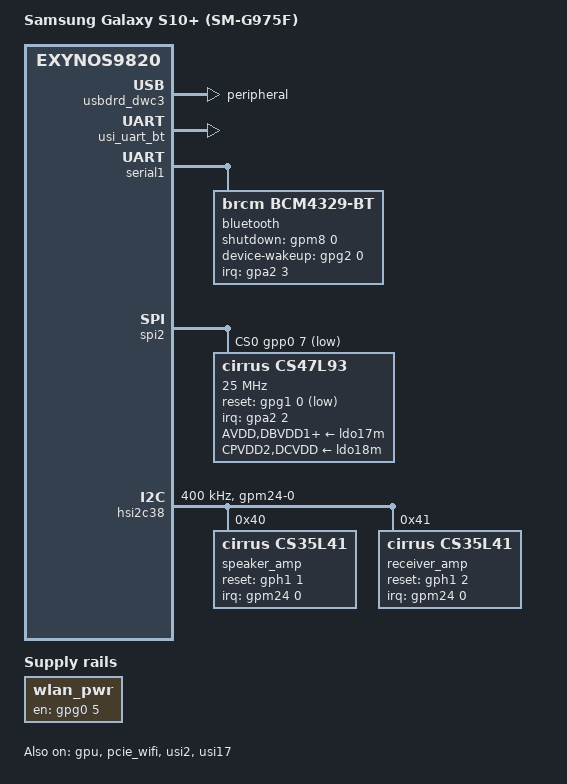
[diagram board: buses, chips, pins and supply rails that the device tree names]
// SPDX-License-Identifier: GPL-2.0 OR BSD-3-Clause
/*
 * Samsung Galaxy S10+ (beyond2lte/SM-G975F) device tree source
 *
 * Copyright (c) 2026 chiffathefox <chiffathefoxx@gmail.com>
 */

/dts-v1/;
#include "exynos9820-common.dtsi"
#include <dt-bindings/interrupt-controller/irq.h>

/ {
	model = "Samsung Galaxy S10+ (SM-G975F)";
	compatible = "samsung,beyond2lte", "samsung,exynos9820";
	chassis-type = "handset";

	aliases {
		i2c0 = &hsi2c10;
		i2c1 = &hsi2c45;
		i2c2 = &hsi2c38;
	};

	chosen {
		framebuffer0: framebuffer@ca000000 {
			compatible = "simple-framebuffer";
			reg = <0x0 0xca000000 (1440 * 3040 * 4)>;
			width = <1440>;
			height = <3040>;
			stride = <(1440 * 4)>;
			format = "a8r8g8b8";
			panel = <&panel>;

			/* Dummy panel for simple-framebuffer dimension info */
			panel: dummy-panel {
				width-mm = <70>;
				height-mm = <147>;
			};
		};
	};

	reserved-memory {
		/*
		 * Persistent crash log. 0xfd910000 is the stock log_kernel region
		 * (debug_snapshot); it does not overlap modem_if or cp_ram_logging
		 * (end 0xfd8fffff). Read after a crash from /sys/fs/pstore.
		 */
		ramoops@fd910000 {
			compatible = "ramoops";
			reg = <0x0 0xfd910000 0x200000>;
			record-size = <0x40000>;
			console-size = <0x40000>;
			pmsg-size = <0x40000>;
		};
	};

	wlan_pwr: regulator-wlan {
		compatible = "regulator-fixed";
		regulator-name = "wlan_reg_on";
		gpio = <&gpg0 5 GPIO_ACTIVE_HIGH>;
		enable-active-high;
		startup-delay-us = <200000>;
		pinctrl-names = "default";
		pinctrl-0 = <&wlan_en>;
	};
};

&battery {
	compatible = "simple-battery";
	constant-charge-current-max-microamp = <2850000>;
	charge-full-design-microamp-hours = <4000000>;
};

&gpu {
	status = "okay";
};

&usbdrd_dwc3 {
	dr_mode = "peripheral";
	maximum-speed = "high-speed";
};

&pcie_wifi {
	pinctrl-names = "default";
	pinctrl-0 = <&pcie0_clkreq &pcie0_perst>;
	reset-gpios = <&gpf2 2 GPIO_ACTIVE_LOW>;
	vpcie-supply = <&wlan_pwr>;
	status = "okay";
};

&pinctrl_fsys1 {
	pcie0_clkreq: pcie0-clkreq-pins {
		samsung,pins = "gpf2-0";
		samsung,pin-function = <EXYNOS_PIN_FUNC_2>;
		samsung,pin-pud = <EXYNOS_PIN_PULL_UP>;
		samsung,pin-drv = <3>;
	};

	pcie0_perst: pcie0-perst-pins {
		samsung,pins = "gpf2-2";
		samsung,pin-function = <EXYNOS_PIN_FUNC_OUTPUT>;
		samsung,pin-pud = <EXYNOS_PIN_PULL_NONE>;
		samsung,pin-drv = <3>;
	};
};

&usi_uart_bt {
	status = "okay";
};

&serial1 {
	pinctrl-names = "default";
	pinctrl-0 = <&uart1_bus>;
	uart-has-rtscts;
	status = "okay";

	bluetooth {
		compatible = "brcm,bcm4329-bt";
		pinctrl-names = "default";
		pinctrl-0 = <&bt_en &bt_wake &bt_hostwake>;
		shutdown-gpios = <&gpm8 0 GPIO_ACTIVE_HIGH>;
		device-wakeup-gpios = <&gpg2 0 GPIO_ACTIVE_HIGH>;
		interrupt-parent = <&gpa2>;
		interrupts = <3 IRQ_TYPE_EDGE_RISING>;
		interrupt-names = "host-wakeup";
	};
};

&pinctrl_alive {
	bt_hostwake: bt-hostwake-pins {
		samsung,pins = "gpa2-3";
		samsung,pin-function = <EXYNOS_PIN_FUNC_EINT>;
		samsung,pin-pud = <EXYNOS_PIN_PULL_DOWN>;
	};
};

&pinctrl_cmgp {
	bt_en: bt-en-pins {
		samsung,pins = "gpm8-0";
		samsung,pin-function = <EXYNOS_PIN_FUNC_OUTPUT>;
		samsung,pin-pud = <EXYNOS_PIN_PULL_NONE>;
	};
};

&pinctrl_peric0 {
	bt_wake: bt-wake-pins {
		samsung,pins = "gpg2-0";
		samsung,pin-function = <EXYNOS_PIN_FUNC_OUTPUT>;
		samsung,pin-pud = <EXYNOS_PIN_PULL_NONE>;
		samsung,pin-con-pdn = <EXYNOS_PIN_PDN_PREV>;
		samsung,pin-pud-pdn = <EXYNOS_PIN_PULL_NONE>;
	};

	wlan_en: wlan-en-pins {
		samsung,pins = "gpg0-5";
		samsung,pin-function = <EXYNOS_PIN_FUNC_OUTPUT>;
		samsung,pin-pud = <EXYNOS_PIN_PULL_NONE>;
		samsung,pin-drv = <3>;
	};
};

&pinctrl_cmgp {
	amp_int: amp-int-pins {
		samsung,pins = "gpm24-0";
		samsung,pin-function = <EXYNOS_PIN_FUNC_EINT>;
		samsung,pin-pud = <EXYNOS_PIN_PULL_NONE>;
		samsung,pin-con-pdn = <EXYNOS_PIN_PDN_PREV>;
		samsung,pin-pud-pdn = <EXYNOS_PIN_PULL_NONE>;
	};
};

&usi2 {
	status = "okay";
	samsung,mode = <USI_MODE_SPI>;
};

&spi2 {
	cs-gpios = <&gpp0 7 GPIO_ACTIVE_LOW>;
	pinctrl-0 = <&spi2_bus &spi2_cs>;
	status = "okay";

	cs47l93: codec@0 {
		compatible = "cirrus,cs47l93";
		reg = <0>;
		spi-max-frequency = <25000000>;
		interrupts-extended = <&gpa2 2 IRQ_TYPE_LEVEL_LOW>;
		interrupt-controller;
		#interrupt-cells = <2>;
		gpio-controller;
		#gpio-cells = <2>;
		#sound-dai-cells = <1>;
		AVDD-supply = <&ldo17m>;
		DBVDD1-supply = <&ldo17m>;
		CPVDD1-supply = <&ldo17m>;
		CPVDD2-supply = <&ldo18m>;
		DCVDD-supply = <&ldo18m>;
		reset-gpios = <&gpg1 0 GPIO_ACTIVE_LOW>;
		cirrus,dmic-ref = <0 0 1 1 0 0>;
		cirrus,inmode = <0 0 0 0 0 0 1 1 0 0 0 0 0 0 0 0 0 0 0 0 0 0 0 0>;
		cirrus,out-mono = <0 0 0 1 0 0>;
		pinctrl-names = "default";
		pinctrl-0 = <&codec_reset &codec_irq>;

		controller-data {
			samsung,spi-feedback-delay = <1>;
		};
	};
};

&usi17 {
	status = "okay";
	samsung,mode = <USI_MODE_I2C>;
};

&hsi2c38 {
	clock-frequency = <400000>;
	pinctrl-0 = <&hsi2c38_bus &spk_amp_reset &rcv_amp_reset &amp_int>;
	status = "okay";

	speaker_amp: amplifier@40 {
		compatible = "cirrus,cs35l41";
		reg = <0x40>;
		#sound-dai-cells = <1>;
		sound-name-prefix = "Bottom";
		interrupts-extended = <&gpm24 0 IRQ_TYPE_LEVEL_LOW>;
		reset-gpios = <&gph1 1 GPIO_ACTIVE_HIGH>;
		cirrus,boost-type = <0>;
		cirrus,boost-peak-milliamp = <4100>;
		cirrus,boost-ind-nanohenry = <1000>;
		cirrus,boost-cap-microfarad = <10>;
		cirrus,asp-sdout-hiz = <3>;
		cirrus,gpio2-src-select = <2>;
		cirrus,gpio2-output-enable;
	};

	receiver_amp: amplifier@41 {
		compatible = "cirrus,cs35l41";
		reg = <0x41>;
		#sound-dai-cells = <1>;
		sound-name-prefix = "Receiver";
		interrupts-extended = <&gpm24 0 IRQ_TYPE_LEVEL_LOW>;
		reset-gpios = <&gph1 2 GPIO_ACTIVE_HIGH>;
		cirrus,boost-type = <0>;
		cirrus,boost-peak-milliamp = <4100>;
		cirrus,boost-ind-nanohenry = <1000>;
		cirrus,boost-cap-microfarad = <10>;
		cirrus,asp-sdout-hiz = <3>;
		cirrus,gpio2-src-select = <2>;
		cirrus,gpio2-output-enable;
	};
};

&pinctrl_aud {
	power-domains = <&pd_aud>;
};

&soc {
	audio_probe: audio-probe@18c00000 {
		compatible = "samsung,exynos9820-aud-probe-test";
		reg = <0x18c00000 0x8000>, <0x18c50000 0x10000>;
		reg-names = "cmu", "abox";
		clock-names = "top";
		clocks = <&cmu_top CLK_DOUT_CMU_AUD_CPU>;
		power-domains = <&pd_aud>;
	};

	abox_speaker_card: abox-speaker-card {
		compatible = "samsung,exynos9820-abox-s10-test";
		samsung,amplifiers = <&speaker_amp &receiver_amp>;
	};

	abox_mic_card: abox-mic-card {
		compatible = "samsung,exynos9820-abox-mic-s10-test";
	};

	dsim0_aor_backlight: backlight@19080000 {
		compatible = "samsung,s6e3ha9-beyond2-aor-backlight";
		reg = <0x19080000 0x300>, <0x19161000 0x800>;
		reg-names = "dsim", "dphy";
		samsung,pmu-syscon = <&pmu_system_controller>;
	};
};
